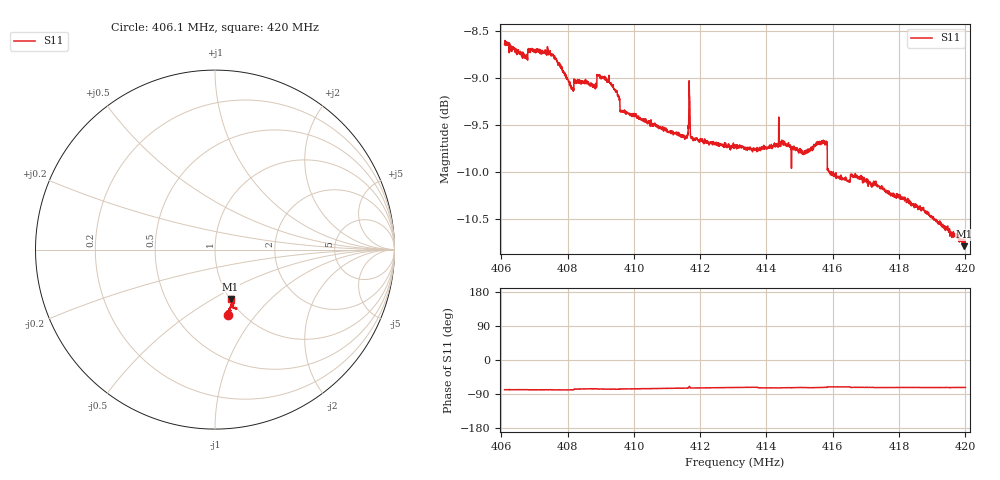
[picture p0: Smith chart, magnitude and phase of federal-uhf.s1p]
! Calibrated averaged scanner-service zoom
# Hz S RI R 50
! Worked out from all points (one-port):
!   2001 points, 406.1 MHz to 420 MHz, reference 50 ohm
!   lowest |S11| = -10.8 dB at 419.97 MHz (marker M1), VSWR 1.81, Z = 50.3 - j30.2 ohm
!   |S11| at or under -10 dB: 415.9015 MHz to 415.9469 MHz (45.49 kHz wide, 0.0109 % of centre); 415.9499 MHz to 416.0106 MHz (60.63 kHz wide, 0.0146 % of centre); 416.01 MHz to end of sweep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
4.061e8  0.0746 -0.3622
4.067255e8  0.0738 -0.3569
4.074552e8  0.0732 -0.3583
4.078375e8  0.0689 -0.3523
4.081155e8  0.0692 -0.3431
4.082614e8  0.0823 -0.3427
4.086576e8  0.0846 -0.3421
4.091788e8  0.0809 -0.3448
4.09575e8  0.0761 -0.3373
4.096514e8  0.08 -0.3306
4.113125e8  0.0883 -0.319
4.115696e8  0.0888 -0.3176
4.116252e8  0.0881 -0.3198
4.117017e8  0.0936 -0.3186
4.117851e8  0.0919 -0.3164
4.1305e8  0.0981 -0.3109
4.136755e8  0.1004 -0.3093
4.138214e8  0.0928 -0.311
4.14016e8  0.0927 -0.3125
4.1444e8  0.0931 -0.3147
4.147875e8  0.0957 -0.3112
4.157605e8  0.0998 -0.3112
4.159064e8  0.1038 -0.2981
4.16525e8  0.1017 -0.2952
4.173242e8  0.0924 -0.2972
4.182625e8  0.0923 -0.2918
4.199722e8  0.0864 -0.2754
4.2e8  0.0876 -0.2759
